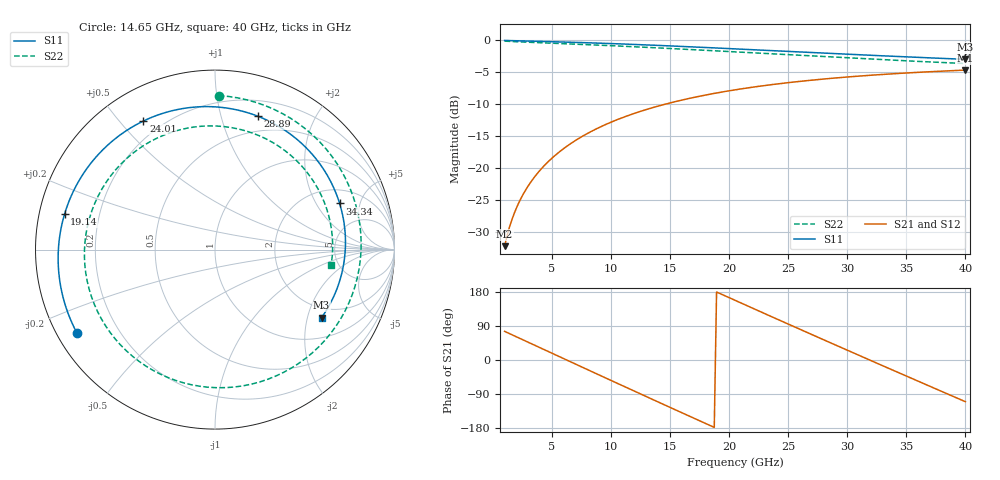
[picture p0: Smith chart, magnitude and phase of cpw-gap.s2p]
! PLACEHOLDER DATA - synthetic pi model of a CPW series gap, not EM simulated.
! Cs=40 fF, Cp=12 fF, L1=1.5 mm, L2=3 mm, eeff=5.4
! Generated by scripts/gen-cpw-placeholder.mjs
# GHZ S RI R 50
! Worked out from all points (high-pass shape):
!   201 points, 1 GHz to 40 GHz, reference 50 ohm
!   highest |S21| = -4.73 dB at 40 GHz (marker M1); lowest = -32.2 dB at 1 GHz (marker M2)
!   |S21| within 3 dB of the highest: 20.76 GHz to end of sweep
!   lowest |S11| = -3.0 dB at 40 GHz (marker M3), VSWR 5.76, Z = 81.6 - j123 ohm
!   |S11| at or under -10 dB: nowhere
!   |S22| runs from -3.7 to -0.2 dB; largest |S21 - S12| = 0
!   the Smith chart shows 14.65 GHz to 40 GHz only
!   S11 on the Smith chart (normalised r, x): 14.65 GHz: 0.06, -0.28; 19.14 GHz: 0.08, +0.12; 24.01 GHz: 0.13, +0.58; 28.89 GHz: 0.35, +1.31; 34.34 GHz: 2.83, +3.22; 40 GHz: 1.63, -2.45
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1  0.972 -0.1756  0.00615 0.0239  0.00615 0.0239  0.9249 -0.3115
2.365  0.8937 -0.402  0.0324 0.0478  0.0324 0.0478  0.6918 -0.6685
4.315  0.6956 -0.6756  0.0917 0.0483  0.0917 0.0483  0.1596 -0.9323
5.875  0.4792 -0.833  0.1387 0.0129  0.1387 0.0129  -0.3081 -0.8811
7.63  0.1983 -0.9294  0.1675 -0.0606  0.1675 -0.0606  -0.7228 -0.5681
9.19  -0.0622 -0.9379  0.1563 -0.1421  0.1563 -0.1421  -0.8945 -0.1461
10.555  -0.2814 -0.8868  0.1131 -0.2107  0.1131 -0.2107  -0.8603 0.2461
12.505  -0.5543 -0.7289  0.00195 -0.277  0.00195 -0.277  -0.5411 0.6911
14.065  -0.7206 -0.5449  -0.1134 -0.2839  -0.1134 -0.2839  -0.1404 0.8522
14.65  -0.7683 -0.4662  -0.1583 -0.2735  -0.1583 -0.2735  0.0209 0.8581
17.185  -0.8729 -0.092  -0.3271 -0.1462  -0.3271 -0.1462  0.6191 0.5605
19.135  -0.8383 0.1975  -0.3873 0.0227  -0.3873 0.0227  0.8118 0.0933
20.5  -0.7591 0.3815  -0.3764 0.1558  -0.3764 0.1558  0.764 -0.2526
22.45  -0.5813 0.5968  -0.28 0.3304  -0.28 0.3304  0.466 -0.6342
24.01  -0.3984 0.7167  -0.144 0.4285  -0.144 0.4285  0.1086 -0.7655
27.13  0.0147 0.7943  0.2024 0.4418  0.2024 0.4418  -0.5561 -0.4976
28.885  0.2396 0.7428  0.3783 0.3314  0.3783 0.3314  -0.7199 -0.131
31.03  0.4739 0.5995  0.5106 0.1066  0.5106 0.1066  -0.6306 0.3366
33.565  0.6605 0.3463  0.4988 -0.2099  0.4988 -0.2099  -0.1997 0.6664
34.345  0.6943 0.2571  0.4562 -0.3013  0.4562 -0.3013  -0.0337 0.6893
37.465  0.7109 -0.112  0.1393 -0.5492  0.1393 -0.5492  0.5311 0.4063
40  0.5934 -0.3791  -0.1985 -0.5453  -0.1985 -0.5453  0.6472 -0.0844
